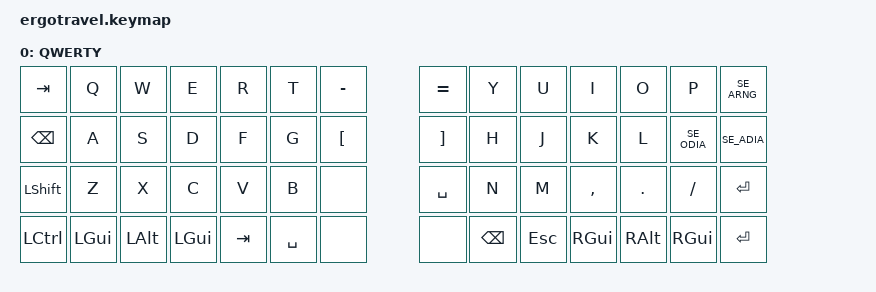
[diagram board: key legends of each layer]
#include <behaviors.dtsi>
#include <dt-bindings/zmk/keys.h>
#include <dt-bindings/zmk/bt.h>
#include "keys_se.h"

/ {
  combos {
    compatible = "zmk,combos";
    combo_layer_three {
      timeout-ms = <50>;
      key-positions = <31 34>;
      bindings = <&mo 0>;
    };
  };
  behaviors {
    hm: homerow_mods {
      compatible = "zmk,behavior-hold-tap";
      label = "HOMEROW_MODS";
      #binding-cells = <2>;
      tapping-term-ms = <200>;
      quick_tap_ms = <0>;
      flavor = "tap-preferred";
      bindings = <&kp>, <&kp>;
    };
    td: tapdance {
      compatible = "zmk,behavior-hold-tap";
      label = "TAPDANCE";
      #binding-cells = <2>;
      tapping-term-ms = <150>;
      quick_tap_ms = <0>;
      flavor = "tap-preferred";
      bindings = <&kp>, <&kp>;
    };
    los: layer_one_shot {
      compatible = "zmk,behavior-hold-tap";
      label = "LAYER_ONE_SHOT";
      #binding-cells = <2>;
      tapping-term-ms = <200>;
      quick_tap_ms = <0>;
      flavor = "tap-preferred";
      bindings = <&mo>, <&sl>;
    };
    lt: layer_tap {
      compatible = "zmk,behavior-hold-tap";
      label = "LAYER_TAP";
      #binding-cells = <2>;
      tapping-term-ms = <200>;
      quick_tap_ms = <0>;
      flavor = "tap-preferred";
      bindings = <&mo>, <&kp>;
    };
  };


    keymap {
        compatible = "zmk,keymap";

        qwerty_layer {
            display-name = "QWERTY";
            bindings = <
                &kp TAB      &kp Q    &kp W    &kp E    &kp R       &kp T         &kp MINUS                &kp EQUAL &kp Y         &kp U     &kp I     &kp O    &kp P     &kp SE_ARNG
                &kp BSPC     &kp A    &kp S    &kp D    &kp F       &kp G         &kp LBKT                 &kp RBKT  &kp H         &kp J     &kp K     &kp L    &kp SE_ODIA  &kp SE_ADIA
                &kp LSHFT    &kp Z    &kp X    &kp C    &kp V       &kp B         &none                    &kp SPACE &kp N         &kp M     &kp COMMA &kp DOT  &kp SLASH &kp ENTER
                &kp LCTRL    &kp LGUI &kp LALT &kp LGUI &kp TAB     &kp SPACE     &none                    &none     &kp BSPC      &kp ESC   &kp RGUI &kp RALT &kp RGUI  &kp ENTER
            >;
        };

        // qwerty_hr_layer {
        //     display-name = "QWERTY-HRM";
        //
        //     bindings = <
        //         &kp TAB      &kp Q      &kp W      &kp E       &kp R       &kp T         &kp MINUS                &kp EQUAL &kp Y         &kp U       &kp I       &kp O      &kp P         &kp BSPC
        //         &lt MAX BSPC &hl LALT A &hl RALT S &hl LSHFT D &hl LCTRL F &hl LGUI G    &kp LBKT                 &kp RBKT  &hr RGUI H    &hr RCTRL J &hr RSHFT K &hr RALT L &hr LALT SEMI &kp APOS
        //         &kp LSHFT    &kp Z      &kp X      &kp C       &kp V       &kp B         &mup LC(SPACE) LC(LS(M)) &kp SPACE &kp N         &kp M       &kp COMMA   &kp DOT    &kp SLASH     &mt RSHFT ENTER
        //         &kp LCTRL    &kp LGUI   &kp LALT   &mo ADJ     &lt LOW TAB &lt MSE SPACE &none                    &none     &lt NSP SPACE &mo RSE     &mo FUN     &kp RALT   &kp RGUI      &mt RCTRL ENTER
        //     >;
        // };
    };
};
